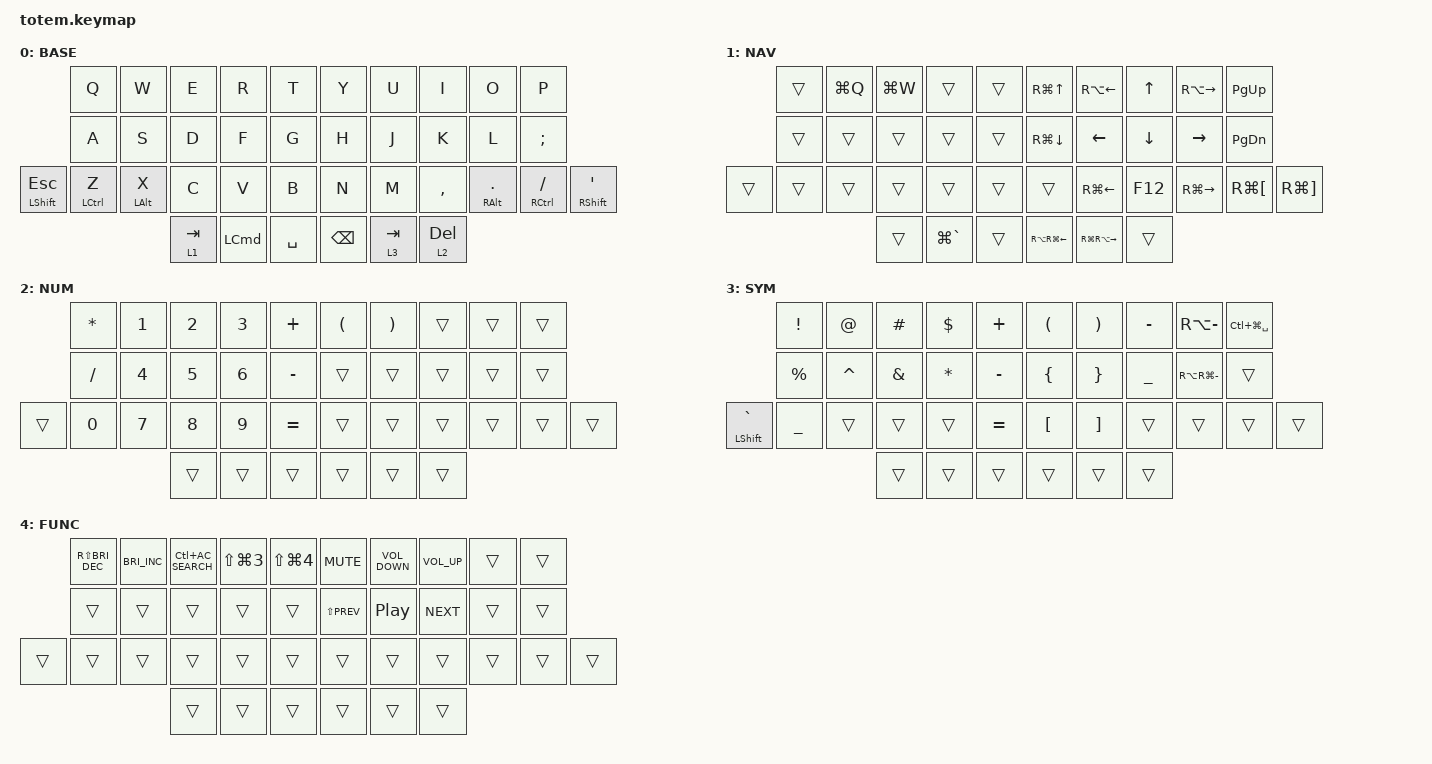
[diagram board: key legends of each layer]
//
//                                                        ▀▀▀▀▀     ▀▀▀▀▀          ▀▀█▀▀
//                                                        ▄▀▀▀▄  ▄  ▄▀▀▀▄  ▄  ▄▀▀▀▄  █  ▄▀▀▀▄
//                                                        █   █  █  █   █  █  █   █  █  █   █
//                                                         ▀▀▀   █   ▀▀▀   █   ▀▀▀   ▀   ▀▀▀
//                                                               █      ▄▄▄█▄▄▄    █   █  
//                                                               ▀      █  █  █     █▄█
//                                                             ▀▀▀▀▀    █  █  █      ▀
//                                                                      ▀  ▀  ▀
//
// ▄▄▄▄▄▄▄▄▄▄▄▄▄▄▄▄▄▄▄▄▄▄▄▄▄▄▄▄▄▄▄▄▄▄▄▄▄▄▄▄▄▄▄▄▄▄▄▄▄▄▄▄▄▄▄▄▄▄▄▄▄▄▄▄▄▄▄▄▄▄▄▄▄▄▄▄▄▄▄▄▄▄▄▄▄▄▄▄▄▄▄▄▄▄▄▄▄▄▄▄▄▄▄▄▄▄▄▄▄▄▄▄▄▄▄▄▄▄▄▄▄▄▄▄▄▄▄▄▄▄▄▄▄▄▄▄▄▄▄▄▄▄▄▄▄▄▄▄▄

#include <behaviors.dtsi>
#include <dt-bindings/zmk/keys.h>

#define BASE 0
#define NAV  1
#define SYM  2
#define ADJ  3
#define TVP1 4
#define TVP2 5

&mt {
    quick-tap-ms = <100>;
    global-quick-tap;
    flavor = "tap-preferred";
    tapping-term-ms = <170>;
};

/ {
    combos {
        compatible = "zmk,combos";

        combo_esc {
            timeout-ms = <50>;
            key-positions = <0 1>;
            bindings = <&kp ESCAPE>;
        };

        combo_tvp {
            timeout-ms = <100>;
            key-positions = <5 6>;
            bindings = <&kp BACKSPACE>;
        };

        Enter {
            bindings = <&kp ENTER>;
            key-positions = <16 17 18>;
        };

        ResetToHome {
            bindings = <&to 0>;
            key-positions = <2 3 4>;
        };

        Device_layer {
            bindings = <&to 4>;
            key-positions = <0 9>;
        };

        Max_Window {
            bindings = <&kp LC(LA(LEFT_COMMAND))>;
            key-positions = <32 33 34>;
        };

        cmd-tilde {
            bindings = <&kp GRAVE>;
            key-positions = <20 21>;
        };
    };

    macros {
        gif: gif {
            label = "giphy";
            compatible = "zmk,behavior-macro";
            #binding-cells = <0>;
            bindings =
                <&macro_press>,
                <&kp LSHFT>,
                <&macro_tap>,
                <&kp N2>,
                <&macro_release>,
                <&kp LSHFT>,
                <&macro_tap>,
                <&kp G &kp I &kp F>;
        };
    };

    keymap {
        compatible = "zmk,keymap";

        // ▄▄▄▄▄▄▄▄▄▄▄▄▄▄▄▄▄▄▄▄▄▄▄▄▄▄▄▄▄▄▄▄▄▄▄▄▄▄▄▄▄▄▄▄▄▄▄▄▄▄▄▄▄▄▄▄▄▄▄▄▄▄▄▄▄▄▄▄▄▄▄▄▄▄▄▄▄▄▄▄▄▄▄▄▄▄▄▄▄▄▄▄▄▄▄▄▄▄▄▄▄▄▄▄▄▄▄▄▄▄▄▄▄▄▄▄▄▄▄▄▄▄▄▄▄▄▄▄▄▄▄▄▄▄▄▄▄▄▄▄▄▄▄▄▄▄▄▄▄

        base_layer {
            // ┏━━━━━━━━━━━━━━━━━━━━━━━━━━━━━━━━━━━━━━━┓

            label = "BASE";

            // ┗━━━━━━━━━━━━━━━━━━━━━━━━━━━━━━━━━━━━━━━┛
            //             ┏━━━━━━━━━━━┳━━━━━━━━━━━┳━━━━━━━━━━━┳━━━━━━━━━━━┳━━━━━━━━━━━┓   ┏━━━━━━━━━━━┳━━━━━━━━━━━┳━━━━━━━━━━━┳━━━━━━━━━━━┳━━━━━━━━━━━┓
            //             ┃     Q     ┃     W     ┃     F     ┃     P     ┃     G     ┃   ┃     J     ┃     L     ┃     U     ┃     Y     ┃     ;     ┃
            //             ┣━━━━━━━━━━━╋━━━━━━━━━━━╋━━━━━━━━━━━╋━━━━━━━━━━━╋━━━━━━━━━━━┫   ┣━━━━━━━━━━━╋━━━━━━━━━━━╋━━━━━━━━━━━╋━━━━━━━━━━━╋━━━━━━━━━━━┫
            //             ┃     A     ┃     R     ┃     S     ┃     T     ┃     D     ┃   ┃     H     ┃     N     ┃     E     ┃     I     ┃     O     ┃
            // ┏━━━━━━━━━━━╋━━━━━━━━━━━╋━━━━━━━━━━━╋━━━━━━━━━━━╋━━━━━━━━━━━╋━━━━━━━━━━━┫   ┣━━━━━━━━━━━╋━━━━━━━━━━━╋━━━━━━━━━━━╋━━━━━━━━━━━╋━━━━━━━━━━━╋━━━━━━━━━━━┓
            // ┃     Q     ┃     Z     ┃     X     ┃     C     ┃     V     ┃     B     ┃   ┃     K     ┃     M     ┃     ,     ┃     .     ┃     /     ┃     \     ┃
            // ┗━━━━━━━━━━━┻━━━━━━━━━━━┻━━━━━━━━━━━╋━━━━━━━━━━━╋━━━━━━━━━━━╋━━━━━━━━━━━┫   ┣━━━━━━━━━━━╋━━━━━━━━━━━╋━━━━━━━━━━━╋━━━━━━━━━━━┻━━━━━━━━━━━┻━━━━━━━━━━━┛
            //                                     ┃    DEL    ┃    TAB    ┃    SPC    ┃   ┃   ENTER   ┃           ┃   BSPC    ┃
            //                                     ┗━━━━━━━━━━━┻━━━━━━━━━━━┻━━━━━━━━━━━┛   ┗━━━━━━━━━━━┻━━━━━━━━━━━┻━━━━━━━━━━━┛

            bindings = <
                       &kp Q               &kp W           &kp E      &kp R             &kp T        &kp Y          &kp U      &kp I         &kp O                 &kp P
                       &kp A               &kp S           &kp D      &kp F             &kp G        &kp H          &kp J      &kp K         &kp L                 &kp SEMICOLON
&mt LEFT_SHIFT ESCAPE  &mt LEFT_CONTROL Z  &mt LEFT_ALT X  &kp C      &kp V             &kp B        &kp N          &kp M      &kp COMMA     &mt RIGHT_ALT PERIOD  &mt RCTRL SLASH  &mt RIGHT_SHIFT SQT
                                                           &lt 1 TAB  &kp LEFT_COMMAND  &kp SPACE    &kp BACKSPACE  &lt 3 TAB  &lt 2 DELETE
            >;
        };

        // ▄▄▄▄▄▄▄▄▄▄▄▄▄▄▄▄▄▄▄▄▄▄▄▄▄▄▄▄▄▄▄▄▄▄▄▄▄▄▄▄▄▄▄▄▄▄▄▄▄▄▄▄▄▄▄▄▄▄▄▄▄▄▄▄▄▄▄▄▄▄▄▄▄▄▄▄▄▄▄▄▄▄▄▄▄▄▄▄▄▄▄▄▄▄▄▄▄▄▄▄▄▄▄▄▄▄▄▄▄▄▄▄▄▄▄▄▄▄▄▄▄▄▄▄▄▄▄▄▄▄▄▄▄▄▄▄▄▄▄▄▄▄▄▄▄▄▄▄▄

        nav_layer {
            // ┏━━━━━━━━━━━━━━━━━━━━━━━━━━━━━━━━━━━━━━━┓

            label = "NAV";

            // ┗━━━━━━━━━━━━━━━━━━━━━━━━━━━━━━━━━━━━━━━┛
            //             ┏━━━━━━━━━━━┳━━━━━━━━━━━┳━━━━━━━━━━━┳━━━━━━━━━━━┳━━━━━━━━━━━┓   ┏━━━━━━━━━━━┳━━━━━━━━━━━┳━━━━━━━━━━━┳━━━━━━━━━━━┳━━━━━━━━━━━┓
            //             ┃           ┃           ┃     UP    ┃           ┃     {     ┃   ┃     }     ┃     7     ┃     8     ┃     9     ┃     +     ┃
            //             ┣━━━━━━━━━━━╋━━━━━━━━━━━╋━━━━━━━━━━━╋━━━━━━━━━━━╋━━━━━━━━━━━┫   ┣━━━━━━━━━━━╋━━━━━━━━━━━╋━━━━━━━━━━━╋━━━━━━━━━━━╋━━━━━━━━━━━┫
            //             ┃   SHIFT   ┃   LEFT    ┃    DOWN   ┃   RIGHT   ┃     [     ┃   ┃     ]     ┃     4     ┃     5     ┃     6     ┃     -     ┃
            // ┏━━━━━━━━━━━╋━━━━━━━━━━━╋━━━━━━━━━━━╋━━━━━━━━━━━╋━━━━━━━━━━━╋━━━━━━━━━━━┫   ┣━━━━━━━━━━━╋━━━━━━━━━━━╋━━━━━━━━━━━╋━━━━━━━━━━━╋━━━━━━━━━━━╋━━━━━━━━━━━┓
            // ┃           ┃           ┃   P UP    ┃  C LOCK   ┃  P DOWN   ┃     (     ┃   ┃     )     ┃     1     ┃     2     ┃     3     ┃     *     ┃           ┃
            // ┗━━━━━━━━━━━┻━━━━━━━━━━━┻━━━━━━━━━━━╋━━━━━━━━━━━╋━━━━━━━━━━━╋━━━━━━━━━━━┫   ┣━━━━━━━━━━━╋━━━━━━━━━━━╋━━━━━━━━━━━╋━━━━━━━━━━━┻━━━━━━━━━━━┻━━━━━━━━━━━┛
            //                                     ┃           ┃    TAB    ┃    SPC    ┃   ┃    DEL    ┃     0     ┃           ┃
            //                                     ┗━━━━━━━━━━━┻━━━━━━━━━━━┻━━━━━━━━━━━┛   ┗━━━━━━━━━━━┻━━━━━━━━━━━┻━━━━━━━━━━━┛

            bindings = <
        &trans  &kp LG(Q)  &kp LG(W)  &trans         &trans    &kp RG(UP_ARROW)    &kp RA(LEFT)       &kp UP_ARROW  &kp RA(RIGHT)  &kp PAGE_UP
        &trans  &trans     &trans     &trans         &trans    &kp RG(DOWN_ARROW)  &kp LEFT           &kp DOWN      &kp RIGHT      &kp PAGE_DOWN
&trans  &trans  &trans     &trans     &trans         &trans    &trans              &kp RG(LEFT)       &kp F12       &kp RG(RIGHT)  &kp RG(LEFT_BRACKET)  &kp RG(RIGHT_BRACKET)
                           &trans     &kp LG(GRAVE)  &trans    &kp RA(RG(LEFT))    &kp RG(RA(RIGHT))  &trans
            >;
        };

        // ▄▄▄▄▄▄▄▄▄▄▄▄▄▄▄▄▄▄▄▄▄▄▄▄▄▄▄▄▄▄▄▄▄▄▄▄▄▄▄▄▄▄▄▄▄▄▄▄▄▄▄▄▄▄▄▄▄▄▄▄▄▄▄▄▄▄▄▄▄▄▄▄▄▄▄▄▄▄▄▄▄▄▄▄▄▄▄▄▄▄▄▄▄▄▄▄▄▄▄▄▄▄▄▄▄▄▄▄▄▄▄▄▄▄▄▄▄▄▄▄▄▄▄▄▄▄▄▄▄▄▄▄▄▄▄▄▄▄▄▄▄▄▄▄▄▄▄▄▄

        num_layer {
            // ┏━━━━━━━━━━━━━━━━━━━━━━━━━━━━━━━━━━━━━━━┓

            label = "NUM";

            // ┗━━━━━━━━━━━━━━━━━━━━━━━━━━━━━━━━━━━━━━━┛
            //             ┏━━━━━━━━━━━┳━━━━━━━━━━━┳━━━━━━━━━━━┳━━━━━━━━━━━┳━━━━━━━━━━━┓   ┏━━━━━━━━━━━┳━━━━━━━━━━━┳━━━━━━━━━━━┳━━━━━━━━━━━┳━━━━━━━━━━━┓
            //             ┃     !     ┃     @     ┃     #     ┃     $     ┃     %     ┃   ┃     ˆ     ┃     &     ┃     Ü     ┃     '     ┃     "     ┃
            //             ┣━━━━━━━━━━━╋━━━━━━━━━━━╋━━━━━━━━━━━╋━━━━━━━━━━━╋━━━━━━━━━━━┫   ┣━━━━━━━━━━━╋━━━━━━━━━━━╋━━━━━━━━━━━╋━━━━━━━━━━━╋━━━━━━━━━━━┫
            //             ┃     Ä     ┃           ┃    SZ     ┃           ┃           ┃   ┃   MUTE    ┃   YEN     ┃   EURO    ┃  POUND    ┃     Ö     ┃
            // ┏━━━━━━━━━━━╋━━━━━━━━━━━╋━━━━━━━━━━━╋━━━━━━━━━━━╋━━━━━━━━━━━╋━━━━━━━━━━━┫   ┣━━━━━━━━━━━╋━━━━━━━━━━━╋━━━━━━━━━━━╋━━━━━━━━━━━╋━━━━━━━━━━━╋━━━━━━━━━━━┓
            // ┃           ┃  EMAIL1   ┃  EMAIL2   ┃           ┃           ┃           ┃   ┃   VOL-    ┃   VOL+    ┃   LAST    ┃   NEXT    ┃     \     ┃           ┃
            // ┗━━━━━━━━━━━┻━━━━━━━━━━━┻━━━━━━━━━━━╋━━━━━━━━━━━╋━━━━━━━━━━━╋━━━━━━━━━━━┫   ┣━━━━━━━━━━━╋━━━━━━━━━━━╋━━━━━━━━━━━╋━━━━━━━━━━━┻━━━━━━━━━━━┻━━━━━━━━━━━┛
            //                                     ┃           ┃    GIF    ┃    ADJ    ┃   ┃           ┃           ┃           ┃
            //                                     ┗━━━━━━━━━━━┻━━━━━━━━━━━┻━━━━━━━━━━━┛   ┗━━━━━━━━━━━┻━━━━━━━━━━━┻━━━━━━━━━━━┛

            bindings = <
        &kp ASTERISK  &kp NUMBER_1  &kp NUMBER_2  &kp NUMBER_3  &kp PLUS     &kp LEFT_PARENTHESIS  &kp RIGHT_PARENTHESIS  &trans  &trans  &trans
        &kp SLASH     &kp NUMBER_4  &kp N5        &kp NUMBER_6  &kp MINUS    &trans                &trans                 &trans  &trans  &trans
&trans  &kp N0        &kp N7        &kp N8        &kp N9        &kp EQUAL    &trans                &trans                 &trans  &trans  &trans  &trans
                                    &trans        &trans        &trans       &trans                &trans                 &trans
            >;
        };

        // ▄▄▄▄▄▄▄▄▄▄▄▄▄▄▄▄▄▄▄▄▄▄▄▄▄▄▄▄▄▄▄▄▄▄▄▄▄▄▄▄▄▄▄▄▄▄▄▄▄▄▄▄▄▄▄▄▄▄▄▄▄▄▄▄▄▄▄▄▄▄▄▄▄▄▄▄▄▄▄▄▄▄▄▄▄▄▄▄▄▄▄▄▄▄▄▄▄▄▄▄▄▄▄▄▄▄▄▄▄▄▄▄▄▄▄▄▄▄▄▄▄▄▄▄▄▄▄▄▄▄▄▄▄▄▄▄▄▄▄▄▄▄▄▄▄▄▄▄▄

        symbol_layer {
            // ┏━━━━━━━━━━━━━━━━━━━━━━━━━━━━━━━━━━━━━━━┓

            label = "SYM";

            // ┗━━━━━━━━━━━━━━━━━━━━━━━━━━━━━━━━━━━━━━━┛
            //             ┏━━━━━━━━━━━┳━━━━━━━━━━━┳━━━━━━━━━━━┳━━━━━━━━━━━┳━━━━━━━━━━━┓   ┏━━━━━━━━━━━┳━━━━━━━━━━━┳━━━━━━━━━━━┳━━━━━━━━━━━┳━━━━━━━━━━━┓
            //             ┃   RESET   ┃ BT CLEAR  ┃  OUT TOG  ┃           ┃           ┃   ┃           ┃    F7     ┃    F8     ┃    F9     ┃    F12    ┃
            //             ┣━━━━━━━━━━━╋━━━━━━━━━━━╋━━━━━━━━━━━╋━━━━━━━━━━━╋━━━━━━━━━━━┫   ┣━━━━━━━━━━━╋━━━━━━━━━━━╋━━━━━━━━━━━╋━━━━━━━━━━━╋━━━━━━━━━━━┫
            //             ┃ BOOTLOAD  ┃ BT NEXT   ┃           ┃           ┃           ┃   ┃           ┃    F4     ┃    F5     ┃    F6     ┃    F11    ┃
            // ┏━━━━━━━━━━━╋━━━━━━━━━━━╋━━━━━━━━━━━╋━━━━━━━━━━━╋━━━━━━━━━━━╋━━━━━━━━━━━┫   ┣━━━━━━━━━━━╋━━━━━━━━━━━╋━━━━━━━━━━━╋━━━━━━━━━━━╋━━━━━━━━━━━╋━━━━━━━━━━━┓
            // ┃           ┃           ┃ BT PREV   ┃           ┃           ┃           ┃   ┃           ┃    F1     ┃    F2     ┃    F3     ┃    F10    ┃           ┃
            // ┗━━━━━━━━━━━┻━━━━━━━━━━━┻━━━━━━━━━━━╋━━━━━━━━━━━╋━━━━━━━━━━━╋━━━━━━━━━━━┫   ┣━━━━━━━━━━━╋━━━━━━━━━━━╋━━━━━━━━━━━╋━━━━━━━━━━━┻━━━━━━━━━━━┻━━━━━━━━━━━┛
            //                                     ┃           ┃           ┃           ┃   ┃           ┃           ┃           ┃
            //                                     ┗━━━━━━━━━━━┻━━━━━━━━━━━┻━━━━━━━━━━━┛   ┗━━━━━━━━━━━┻━━━━━━━━━━━┻━━━━━━━━━━━┛

            bindings = <
                      &kp EXCLAMATION  &kp AT_SIGN  &kp HASH       &kp DOLLAR    &kp PLUS     &kp LEFT_PARENTHESIS  &kp RIGHT_PARENTHESIS  &kp MINUS  &kp RA(MINUS)      &kp LC(LG(SPACE))
                      &kp PERCENT      &kp CARET    &kp AMPERSAND  &kp ASTERISK  &kp MINUS    &kp LEFT_BRACE        &kp RIGHT_BRACE        &kp UNDER  &kp RA(RG(MINUS))  &trans
&mt LEFT_SHIFT GRAVE  &kp UNDERSCORE   &trans       &trans         &trans        &kp EQUAL    &kp LEFT_BRACKET      &kp RIGHT_BRACKET      &trans     &trans             &trans             &trans
                                                    &trans         &trans        &trans       &trans                &trans                 &trans
            >;
        };

        // ▄▄▄▄▄▄▄▄▄▄▄▄▄▄▄▄▄▄▄▄▄▄▄▄▄▄▄▄▄▄▄▄▄▄▄▄▄▄▄▄▄▄▄▄▄▄▄▄▄▄▄▄▄▄▄▄▄▄▄▄▄▄▄▄▄▄▄▄▄▄▄▄▄▄▄▄▄▄▄▄▄▄▄▄▄▄▄▄▄▄▄▄▄▄▄▄▄▄▄▄▄▄▄▄▄▄▄▄▄▄▄▄▄▄▄▄▄▄▄▄▄▄▄▄▄▄▄▄▄▄▄▄▄▄▄▄▄▄▄▄▄▄▄▄▄▄▄▄▄

        Functions_layer {
            // ┏━━━━━━━━━━━━━━━━━━━━━━━━━━━━━━━━━━━━━━━┓

            label = "FUNC";

            // ┗━━━━━━━━━━━━━━━━━━━━━━━━━━━━━━━━━━━━━━━┛
            //             ┏━━━━━━━━━━━┳━━━━━━━━━━━┳━━━━━━━━━━━┳━━━━━━━━━━━┳━━━━━━━━━━━┓   ┏━━━━━━━━━━━┳━━━━━━━━━━━┳━━━━━━━━━━━┳━━━━━━━━━━━┳━━━━━━━━━━━┓
            //             ┃ NEXT FILE ┃ MARK IN   ┃ ROTATE    ┃ MARK OUT  ┃ SHOW SNAP ┃   ┃           ┃           ┃           ┃           ┃           ┃
            //             ┣━━━━━━━━━━━╋━━━━━━━━━━━╋━━━━━━━━━━━╋━━━━━━━━━━━╋━━━━━━━━━━━┫   ┣━━━━━━━━━━━╋━━━━━━━━━━━╋━━━━━━━━━━━╋━━━━━━━━━━━╋━━━━━━━━━━━┫
            //             ┃ TVP II    ┃ LEFT      ┃ PAN       ┃ RIGHT     ┃ PLAY/FLIP ┃   ┃           ┃           ┃           ┃           ┃           ┃
            // ┏━━━━━━━━━━━╋━━━━━━━━━━━╋━━━━━━━━━━━╋━━━━━━━━━━━╋━━━━━━━━━━━╋━━━━━━━━━━━┫   ┣━━━━━━━━━━━╋━━━━━━━━━━━╋━━━━━━━━━━━╋━━━━━━━━━━━╋━━━━━━━━━━━╋━━━━━━━━━━━┓
            // ┃ FULLSCR   ┃ SHIFT     ┃ COPY      ┃ DELETE    ┃ PASTE     ┃ IMG MARK  ┃   ┃           ┃           ┃           ┃           ┃           ┃           ┃
            // ┗━━━━━━━━━━━┻━━━━━━━━━━━┻━━━━━━━━━━━╋━━━━━━━━━━━╋━━━━━━━━━━━╋━━━━━━━━━━━┫   ┣━━━━━━━━━━━╋━━━━━━━━━━━╋━━━━━━━━━━━╋━━━━━━━━━━━┻━━━━━━━━━━━┻━━━━━━━━━━━┛
            //                                     ┃           ┃ UNDO/SAVE ┃  SEL/MOV  ┃   ┃           ┃           ┃           ┃
            //                                     ┗━━━━━━━━━━━┻━━━━━━━━━━━┻━━━━━━━━━━━┛   ┗━━━━━━━━━━━┻━━━━━━━━━━━┻━━━━━━━━━━━┛

            bindings = <
        &kp RS(C_BRIGHTNESS_DEC)  &kp C_BRIGHTNESS_INC  &kp LC(C_AC_SEARCH)  &kp LS(LG(NUMBER_3))  &kp LS(LG(NUMBER_4))    &kp K_MUTE      &kp C_VOLUME_DOWN  &kp C_VOLUME_UP  &trans  &trans
        &trans                    &trans                &trans               &trans                &trans                  &kp LS(C_PREV)  &kp C_PLAY_PAUSE   &kp C_NEXT       &trans  &trans
&trans  &trans                    &trans                &trans               &trans                &trans                  &trans          &trans             &trans           &trans  &trans  &trans
                                                        &trans               &trans                &trans                  &trans          &trans             &trans
            >;
        };

        // ▄▄▄▄▄▄▄▄▄▄▄▄▄▄▄▄▄▄▄▄▄▄▄▄▄▄▄▄▄▄▄▄▄▄▄▄▄▄▄▄▄▄▄▄▄▄▄▄▄▄▄▄▄▄▄▄▄▄▄▄▄▄▄▄▄▄▄▄▄▄▄▄▄▄▄▄▄▄▄▄▄▄▄▄▄▄▄▄▄▄▄▄▄▄▄▄▄▄▄▄▄▄▄▄▄▄▄▄▄▄▄▄▄▄▄▄▄▄▄▄▄▄▄▄▄▄▄▄▄▄▄▄▄▄▄▄▄▄▄▄▄▄▄▄▄▄▄▄▄
    };
};
